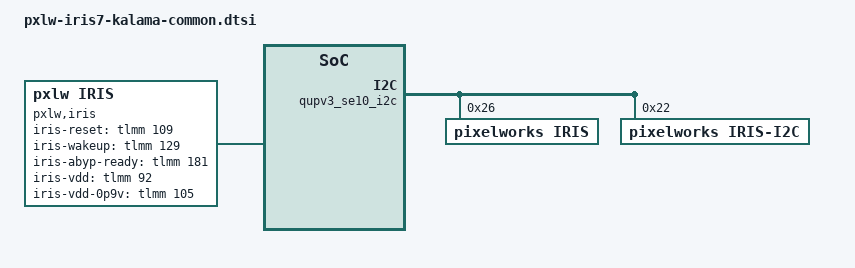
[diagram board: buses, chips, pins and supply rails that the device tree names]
/* Copyright (c) 2020, Pixelworks
 *
 * This program is free software; you can redistribute it and/or modify
 * it under the terms of the GNU General Public License version 2 and
 * only version 2 as published by the Free Software Foundation.
 *
 * This program is distributed in the hope that it will be useful,
 * but WITHOUT ANY WARRANTY; without even the implied warranty of
 * MERCHANTABILITY or FITNESS FOR A PARTICULAR PURPOSE.  See the
 * GNU General Public License for more details.
 */

&tlmm {
	pxlw_iris_gpio: pxlw_iris_gpio {
		iris_reset_active: iris_reset_active {
			mux {
				pins = "gpio109";
				function = "gpio";
			};

			config {
				pins = "gpio109";
				drive-strength = <8>;  /* 8 mA */
				bias-disable;
			};
		};

		iris_reset_suspend: iris_reset_suspend {
			mux {
				pins = "gpio109";
				function = "gpio";
			};

			config {
				pins = "gpio109";
				drive-strength = <2>;
				bias-pull-down;
			};
		};

		iris_wakeup_active: iris_wakeup_active {
			mux {
				pins = "gpio129";
				function = "gpio";
			};

			config {
				pins = "gpio129";
				drive-strength = <8>;
				bias-disable;
				output-low;
			};
		};

		iris_wakeup_suspend: iris_wakeup_suspend {
			mux {
				pins = "gpio129";
				function = "gpio";
			};

			config {
				pins = "gpio129";
				drive-strength = <2>;
				bias-pull-down;
				input-enable;
			};
		};

		iris_abyp_ready_active: iris_abyp_ready_active {
			mux {
				pins = "gpio181";
				function = "gpio";
			};

			config {
				pins = "gpio181";
				drive-strength = <8>;
				bias-disable;
			};
		};

		iris_abyp_ready_suspend: iris_abyp_ready_suspend {
			mux {
				pins = "gpio181";
				function = "gpio";
			};

			config {
				pins = "gpio181";
				drive-strength = <2>;
				bias-pull-down;
			};
		};

		iris_vdd18_active: iris_vdd18_active {
			mux {
				pins = "gpio92";
				function = "gpio";
			};

			config {
				pins = "gpio92";
				drive-strength = <8>;
				bias-pull-up;
			};
		};

		iris_vdd18_suspend: iris_vdd18_suspend {
			mux {
				pins = "gpio92";
				function = "gpio";
			};

			config {
				pins = "gpio92";
				drive-strength = <2>;
				bias-pull-down;
			};
		};

		iris_vdd09_active: iris_vdd09_active {
			mux {
				pins = "gpio105";
				function = "gpio";
			};

			config {
				pins = "gpio105";
				drive-strength = <8>;
				bias-pull-up;
			};
		};

		iris_vdd09_suspend: iris_vdd09_suspend {
			mux {
				pins = "gpio105";
				function = "gpio";
			};

			config {
				pins = "gpio105";
				drive-strength = <2>;
				bias-pull-down;
			};
		};
	};
};

&soc {
	pxlw,iris {
		compatible = "pxlw,iris";
		index = <0>;

		pinctrl-names = "iris_active", "iris_suspend";
		pinctrl-0 = <&iris_reset_active &iris_wakeup_active &iris_abyp_ready_active>;
		pinctrl-1 = <&iris_reset_suspend &iris_wakeup_suspend &iris_abyp_ready_suspend>;

		qcom,iris-reset-gpio = <&tlmm 109 0>;
		qcom,iris-wakeup-gpio = <&tlmm 129 0>;
		qcom,iris-abyp-ready-gpio = <&tlmm 181 0>;
		qcom,iris-vdd-gpio = <&tlmm 92 0>;
		qcom,iris-vdd-0p9v-gpio = <&tlmm 105 0>;
	};
};

&qupv3_se10_i2c {
	status = "ok";
	qcom,clk-freq-out = <400000>;
	pixelworks@26 {  //i2c: 22, i3c: 26
		status = "ok";
		compatible = "pixelworks,iris";
		reg = <0x26>;
	};

	pixelworks@22 {  //i2c: 22, i3c: 26
		status = "ok";
		compatible = "pixelworks,iris-i2c";
		reg = <0x22>;
	};
};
